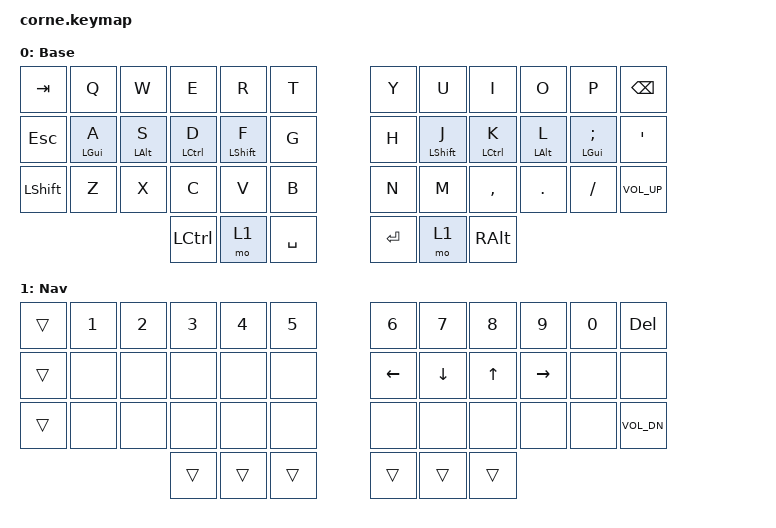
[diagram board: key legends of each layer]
/*
 * A Corne keymap written by hand for the emulator tests: home-row mods, a layer-tap thumb key, a
 * navigation layer and a media key. Not an export from any tool. Keys are numbered 1 to 42 as in
 * the editor: three rows of 12 (left six, right six) and a row of 6 thumb keys.
 */

#include <behaviors.dtsi>
#include <dt-bindings/zmk/keys.h>
#include <dt-bindings/zmk/bt.h>

/ {
    behaviors {
        // The other hand's keys are the only ones that can trigger a hold.
        hm: homerow_mods {
            compatible = "zmk,behavior-hold-tap";
            label = "HOMEROW_MODS";
            #binding-cells = <2>;
            flavor = "balanced";
            tapping-term-ms = <280>;
            quick-tap-ms = <175>;
            require-prior-idle-ms = <150>;
            hold-trigger-key-positions = <6 7 8 9 10 11 18 19 20 21 22 23 30 31 32 33 34 35 39 40 41 0 1 2 3 4 5 12 13 14 15 16 17 24 25 26 27 28 29 36 37 38>;
            hold-trigger-on-release;
            bindings = <&kp>, <&kp>;
        };
    };

    keymap {
        compatible = "zmk,keymap";

        default_layer {
            display-name = "Base";
            bindings = <
                &kp TAB   &kp Q       &kp W       &kp E       &kp R       &kp T       &kp Y   &kp U       &kp I       &kp O       &kp P        &kp BSPC
                &kp ESC   &hm LGUI A  &hm LALT S  &hm LCTRL D &hm LSHIFT F &kp G      &kp H   &hm LSHIFT J &hm LCTRL K &hm LALT L  &hm LGUI SEMI &kp SQT
                &kp LSHFT &kp Z       &kp X       &kp C       &kp V       &kp B       &kp N   &kp M       &kp COMMA   &kp DOT     &kp FSLH     &kp C_VOL_UP
                                                  &kp LCTRL   &mo 1       &kp SPACE   &kp RET &mo 1       &kp RALT
            >;
        };

        nav_layer {
            display-name = "Nav";
            bindings = <
                &trans   &kp N1    &kp N2    &kp N3     &kp N4     &kp N5     &kp N6   &kp N7     &kp N8     &kp N9     &kp N0       &kp DEL
                &trans   &none     &none     &none      &none      &none      &kp LEFT &kp DOWN   &kp UP     &kp RIGHT  &none        &none
                &trans   &none     &none     &none      &none      &none      &none    &none      &none      &none      &none        &kp C_VOL_DN
                                             &trans     &trans     &trans     &trans   &trans     &trans
            >;
        };
    };
};
